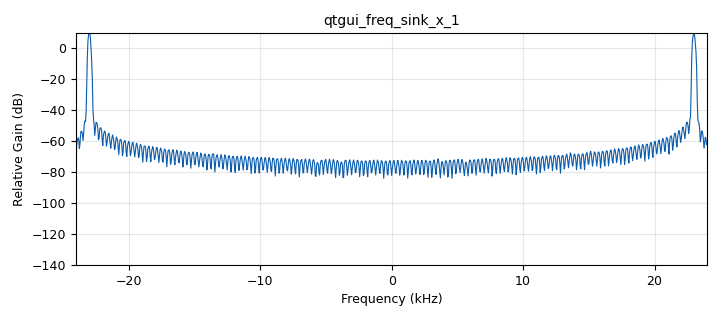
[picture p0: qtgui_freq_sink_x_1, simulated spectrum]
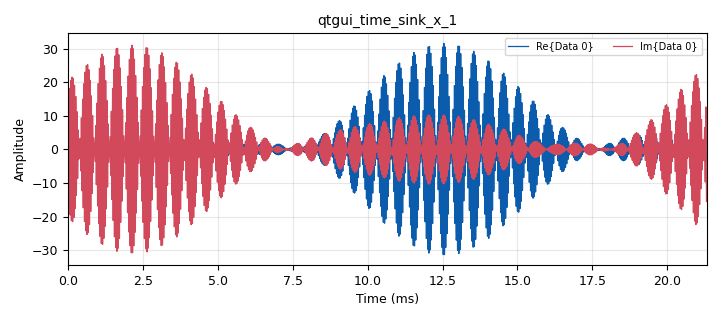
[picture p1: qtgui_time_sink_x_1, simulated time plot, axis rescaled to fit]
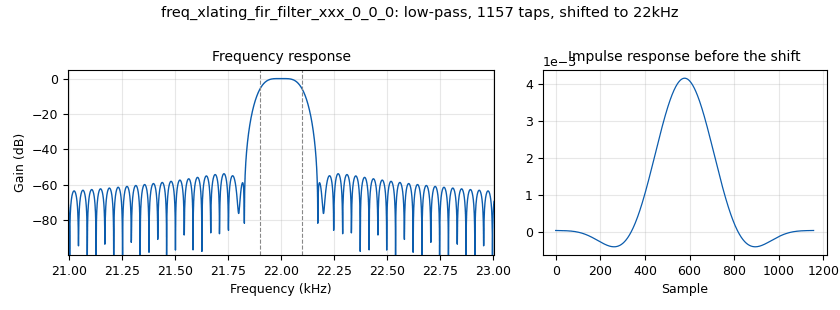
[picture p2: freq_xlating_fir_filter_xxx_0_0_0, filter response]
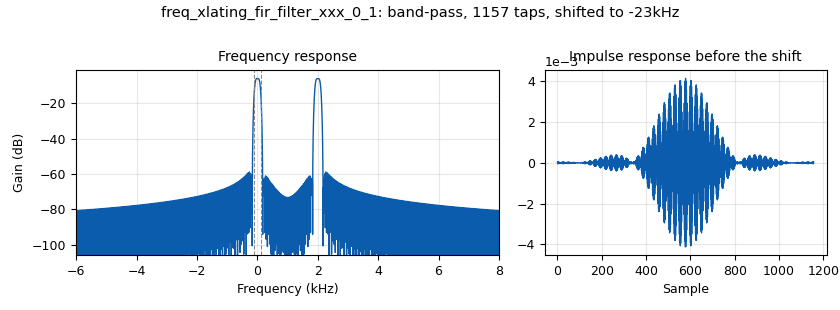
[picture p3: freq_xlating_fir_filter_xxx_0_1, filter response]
options:
  parameters:
    author: Jenish Patel
    description: packet FSK xmt
    generate_options: qt_gui
    id: gfsk_phy
    output_language: python
    title: gfsk_phy
  states: {}

blocks:
- name: carrier_rx
  id: variable
  parameters:
    value: '22000'
  states: {}
- name: carrier_tx
  id: variable
  parameters:
    value: '23000'
  states: {}
- name: samp_rate
  id: variable
  parameters:
    value: '48000'
  states: {}
- name: sideband
  id: variable
  parameters:
    value: '100'
  states: {}
- name: sideband_rx
  id: variable
  parameters:
    value: '100'
  states: {}
- name: transistion
  id: variable
  parameters:
    value: '100'
  states: {}
- name: audio_sink_0
  id: audio_sink
  parameters:
    ok_to_block: 'False'
    samp_rate: samp_rate
  states: {}
- name: audio_source_0
  id: audio_source
  parameters:
    samp_rate: samp_rate
  states: {}
- name: blocks_complex_to_float_0
  id: blocks_complex_to_float
  parameters: {}
  states: {}
- name: blocks_file_sink_0
  id: blocks_file_sink
  parameters:
    file: output.bin
    type: byte
    unbuffered: 'True'
  states: {state: disabled}
- name: blocks_file_sink_0_0
  id: blocks_file_sink
  parameters:
    file: input.bin
    type: byte
    unbuffered: 'True'
  states: {state: disabled}
- name: blocks_float_to_complex_0
  id: blocks_float_to_complex
  parameters: {}
  states: {}
- name: blocks_message_debug_0
  id: blocks_message_debug
  parameters: {}
  states: {state: disabled}
- name: blocks_message_strobe_0
  id: blocks_message_strobe
  parameters:
    msg: ' pmt.cons(pmt.PMT_NIL,pmt.init_u8vector(1,240))'
    period: '5'
  states: {}
- name: blocks_null_sink_0
  id: blocks_null_sink
  parameters:
    type: byte
  states: {}
- name: blocks_pack_k_bits_bb_0
  id: blocks_pack_k_bits_bb
  parameters:
    k: '8'
  states: {state: disabled}
- name: blocks_pdu_to_tagged_stream_0
  id: blocks_pdu_to_tagged_stream
  parameters:
    tag: packet_len
    type: byte
  states: {}
- name: blocks_tagged_stream_to_pdu_0
  id: blocks_tagged_stream_to_pdu
  parameters:
    tag: packet_len
    type: byte
  states: {state: disabled}
- name: blocks_throttle_0
  id: blocks_throttle
  parameters:
    samples_per_second: samp_rate
    type: byte
  states: {}
- name: blocks_throttle_1
  id: blocks_throttle
  parameters:
    samples_per_second: samp_rate
    type: float
  states: {}
- name: digital_gfsk_demod_0
  id: digital_gfsk_demod
  parameters:
    freq_error: '0.0'
    gain_mu: '0.175'
    mu: '0.5'
    omega_relative_limit: '0.005'
    samples_per_symbol: '2'
    sensitivity: '1.0'
  states: {}
- name: digital_gfsk_mod_0
  id: digital_gfsk_mod
  parameters:
    bt: '0.35'
    samples_per_symbol: '128'
    sensitivity: '1.0'
  states: {}
- name: freq_xlating_fir_filter_xxx_0_0_0
  id: freq_xlating_fir_filter_xxx
  parameters:
    center_freq: carrier_rx
    decim: '1'
    samp_rate: samp_rate
    taps: filter.firdes.low_pass(1, samp_rate, sideband_rx,100)
    type: ccc
  states: {}
- name: freq_xlating_fir_filter_xxx_0_1
  id: freq_xlating_fir_filter_xxx
  parameters:
    center_freq: '-carrier_tx'
    decim: '1'
    samp_rate: samp_rate
    taps: firdes.band_pass (0.50,samp_rate,carrier_tx-sideband,carrier_tx+sideband,transistion)
    type: ccc
  states: {}
- name: qtgui_freq_sink_x_0
  id: qtgui_freq_sink_x
  parameters:
    bw: samp_rate
    fc: '0'
    fftsize: '1024'
    type: float
  states: {state: disabled}
- name: qtgui_freq_sink_x_1
  id: qtgui_freq_sink_x
  parameters:
    bw: samp_rate
    fc: '0'
    fftsize: '1024'
    type: complex
  states: {}
- name: qtgui_freq_sink_x_1_0
  id: qtgui_freq_sink_x
  parameters:
    bw: samp_rate
    fc: '0'
    fftsize: '64'
    type: complex
  states: {state: disabled}
- name: qtgui_freq_sink_x_1_0_0
  id: qtgui_freq_sink_x
  parameters:
    bw: samp_rate
    fc: '0'
    fftsize: '1024'
    type: complex
  states: {}
- name: qtgui_time_sink_x_0
  id: qtgui_time_sink_x
  parameters:
    ctrlpanel: 'True'
    marker1: '9'
    size: '1024'
    srate: samp_rate
    type: float
  states: {state: disabled}
- name: qtgui_time_sink_x_1
  id: qtgui_time_sink_x
  parameters:
    ctrlpanel: 'True'
    size: '1024'
    srate: samp_rate
    type: complex
  states: {}
- name: qtgui_time_sink_x_1_0
  id: qtgui_time_sink_x
  parameters:
    ctrlpanel: 'True'
    size: '256'
    srate: '1024'
    type: complex
  states: {state: disabled}
- name: qtgui_time_sink_x_1_0_0
  id: qtgui_time_sink_x
  parameters:
    ctrlpanel: 'True'
    size: '256'
    srate: '1024'
    type: complex
  states: {}
- name: rational_resampler_xxx_0
  id: rational_resampler_xxx
  parameters:
    decim: '1'
    interp: '500'
    taps: '8000'
    type: ccc
  states: {}
- name: rational_resampler_xxx_0_0
  id: rational_resampler_xxx
  parameters:
    decim: '500'
    interp: '1'
    taps: '8000'
    type: ccc
  states: {}

connections:
- [audio_source_0, '0', blocks_throttle_1, '0']
- [blocks_complex_to_float_0, '0', audio_sink_0, '0']
- [blocks_float_to_complex_0, '0', freq_xlating_fir_filter_xxx_0_0_0, '0']
- [blocks_float_to_complex_0, '0', qtgui_freq_sink_x_1_0, '0']
- [blocks_float_to_complex_0, '0', qtgui_time_sink_x_1_0, '0']
- [blocks_message_strobe_0, strobe, blocks_pdu_to_tagged_stream_0, pdus]
- [blocks_pack_k_bits_bb_0, '0', blocks_tagged_stream_to_pdu_0, '0']
- [blocks_pdu_to_tagged_stream_0, '0', blocks_throttle_0, '0']
- [blocks_tagged_stream_to_pdu_0, pdus, blocks_message_debug_0, print_pdu]
- [blocks_throttle_0, '0', blocks_file_sink_0_0, '0']
- [blocks_throttle_0, '0', digital_gfsk_mod_0, '0']
- [blocks_throttle_1, '0', blocks_float_to_complex_0, '0']
- [blocks_throttle_1, '0', qtgui_freq_sink_x_0, '0']
- [blocks_throttle_1, '0', qtgui_time_sink_x_0, '0']
- [digital_gfsk_demod_0, '0', blocks_file_sink_0, '0']
- [digital_gfsk_demod_0, '0', blocks_null_sink_0, '0']
- [digital_gfsk_demod_0, '0', blocks_pack_k_bits_bb_0, '0']
- [digital_gfsk_mod_0, '0', rational_resampler_xxx_0, '0']
- [freq_xlating_fir_filter_xxx_0_0_0, '0', qtgui_freq_sink_x_1_0_0, '0']
- [freq_xlating_fir_filter_xxx_0_0_0, '0', qtgui_time_sink_x_1_0_0, '0']
- [freq_xlating_fir_filter_xxx_0_0_0, '0', rational_resampler_xxx_0_0, '0']
- [freq_xlating_fir_filter_xxx_0_1, '0', blocks_complex_to_float_0, '0']
- [freq_xlating_fir_filter_xxx_0_1, '0', qtgui_freq_sink_x_1, '0']
- [freq_xlating_fir_filter_xxx_0_1, '0', qtgui_time_sink_x_1, '0']
- [rational_resampler_xxx_0, '0', freq_xlating_fir_filter_xxx_0_1, '0']
- [rational_resampler_xxx_0_0, '0', digital_gfsk_demod_0, '0']

metadata:
  file_format: 1
  grc_version: 3.9.7.0
